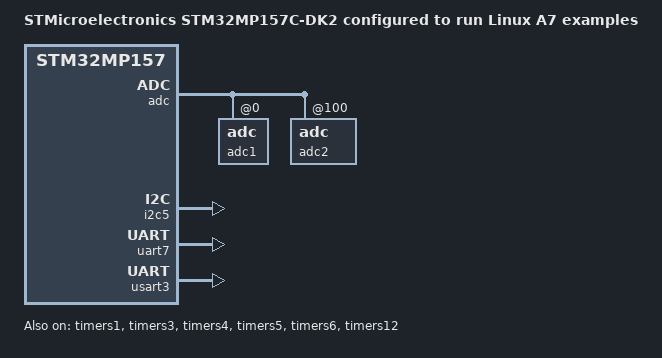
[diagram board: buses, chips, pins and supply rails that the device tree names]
// SPDX-License-Identifier: (GPL-2.0+ OR BSD-3-Clause)
/*
 * Copyright (C) STMicroelectronics 2017 - All Rights Reserved
 * Author: Alexandre Torgue <alexandre.torgue@st.com> for STMicroelectronics.
 */

/dts-v1/;

#include "stm32mp157c-dk2.dts"

/ {
	model = "STMicroelectronics STM32MP157C-DK2 configured to run Linux A7 examples";
	compatible = "st,stm32mp157c-dk2-a7-examples", "st,stm32mp157c-dk2", "st,stm32mp157";
};

&adc {
	pinctrl-0 = <&adc12_ain_pins_a>, <&adc12_usb_cc_pins_a>;

	adc1: adc@0 {
		channel@0 {
			reg = <0>;
			st,min-sample-time-ns = <5000>;
		};
		channel@1 {
			reg = <1>;
			st,min-sample-time-ns = <5000>;
		};
		channel@6 {
			reg = <6>;
			st,min-sample-time-ns = <5000>;
		};
		channel@13 {
			reg = <13>;
			st,min-sample-time-ns = <5000>;
		};
	};

	adc2: adc@100 {
		/* Set IRQ mode as example. DMA is the preferred mode, yet. */
		/delete-property/dmas;
		/delete-property/dma-names;
		channel@0 {
			reg = <0>;
			st,min-sample-time-ns = <5000>;
		};
		channel@1 {
			reg = <1>;
			st,min-sample-time-ns = <5000>;
		};
		channel@2 {
			reg = <2>;
			st,min-sample-time-ns = <5000>;
		};
		channel@6 {
			reg = <6>;
			st,min-sample-time-ns = <5000>;
		};
	};
};

&i2c5 {
	status = "okay";
};

&timers1 {
	status = "okay";
};

&timers3 {
	status = "okay";
};

&timers4 {
	status = "okay";
};

&timers5 {
	status = "okay";
};

&timers6 {
	status = "okay";
};

&timers12 {
	status = "okay";
};

&uart7 {
	status = "okay";
};

&usart3 {
	status = "okay";
};
